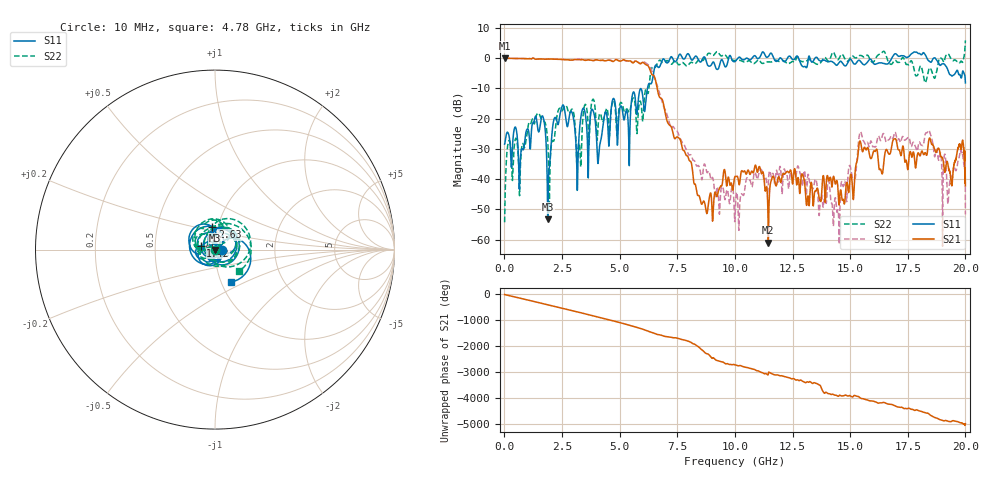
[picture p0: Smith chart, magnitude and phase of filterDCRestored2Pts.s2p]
! File created by SignalIntegrity v1.2.1: Signal and Power Integrity Tools
! https://github.com/TeledyneLeCroy/SignalIntegrity
# MHz S MA R 50.0
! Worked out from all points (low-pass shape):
!   2000 points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, 10 MHz to 20 GHz, reference 50 ohm
!   highest |S21| = 0.00 dB at 10 MHz (marker M1); lowest = -61.0 dB at 11.45 GHz (marker M2)
!   |S21| within 3 dB of the highest: start of sweep to 6.272 GHz
!   lowest |S11| = -53.3 dB at 1.88 GHz (marker M3), VSWR 1.00, Z = 49.9 - j0.174 ohm
!   |S11| at or under -10 dB: start of sweep to 6.208 GHz
!   |S22| runs from -54.2 to 5.8 dB; largest |S21 - S12| = 0.11
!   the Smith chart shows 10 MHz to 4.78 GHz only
!   S11 on the Smith chart (normalised r, x): 10 MHz: 1.08, -0.01; 1.42 GHz: 0.85, +0.04; 2.63 GHz: 0.94, +0.24; 4.78 GHz: 1.11, -0.42
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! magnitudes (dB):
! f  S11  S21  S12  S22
! 10 MHz  -28.4  0.0  0.0  -54.2
! 180 MHz  -25.1  -0.1  -0.1  -27.6
! 1.42 GHz  -21.6  -0.3  -0.3  -18.4
! 1.88 GHz  -53.3  -0.3  -0.3  -27.4
! 2.63 GHz  -18.0  -0.5  -0.5  -15.8
! 3.16 GHz  -43.7  -0.5  -0.5  -35.0
! 3.35 GHz  -18.0  -0.5  -0.5  -28.1
! 4.1 GHz  -31.3  -0.7  -0.6  -19.5
! 4.78 GHz  -13.9  -0.8  -0.7  -14.9
! 5.39 GHz  -25.1  -1.0  -0.9  -17.8
! 6.68 GHz  -3.1  -11.8  -10.2  -1.1
! 8.73 GHz  -0.3  -49.4  -36.1  0.3
! 10.01 GHz  -1.1  -39.1  -52.0  -0.8
! 11.45 GHz  0.5  -61.0  -41.1  -1.3
! 13.34 GHz  -1.3  -42.1  -42.8  -1.0
! 14.47 GHz  -2.0  -43.0  -50.2  -0.5
! 15.45 GHz  -1.1  -27.7  -24.3  0.9
! 16.67 GHz  -1.7  -31.6  -27.0  -1.4
! 18.4 GHz  -0.8  -27.7  -23.9  -4.0
! 19.29 GHz  -5.0  -37.1  -43.2  1.1
! 19.83 GHz  -6.5  -29.8  -31.2  -1.0
! 20 GHz  -8.2  -42.2  -51.7  5.8
